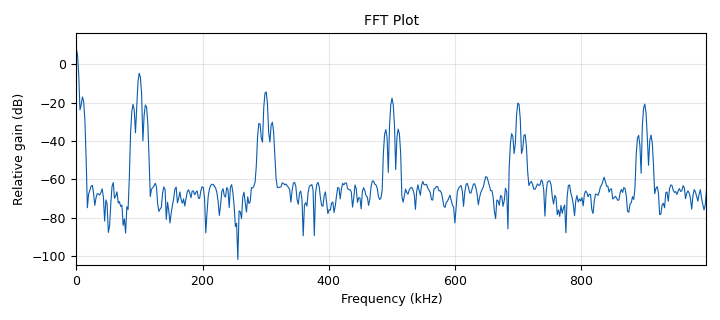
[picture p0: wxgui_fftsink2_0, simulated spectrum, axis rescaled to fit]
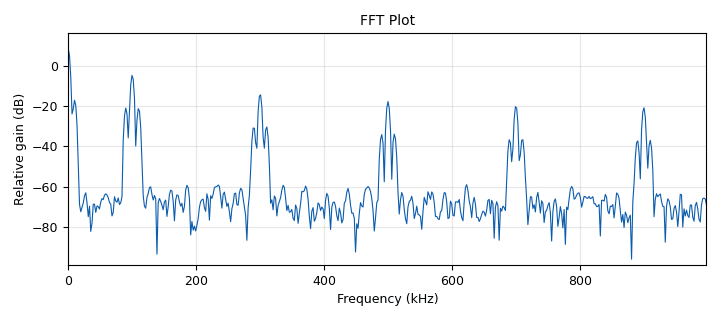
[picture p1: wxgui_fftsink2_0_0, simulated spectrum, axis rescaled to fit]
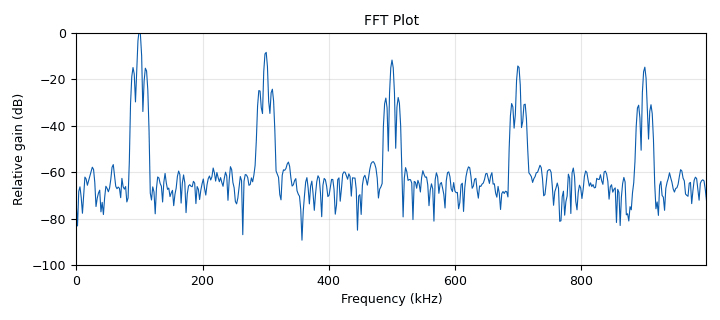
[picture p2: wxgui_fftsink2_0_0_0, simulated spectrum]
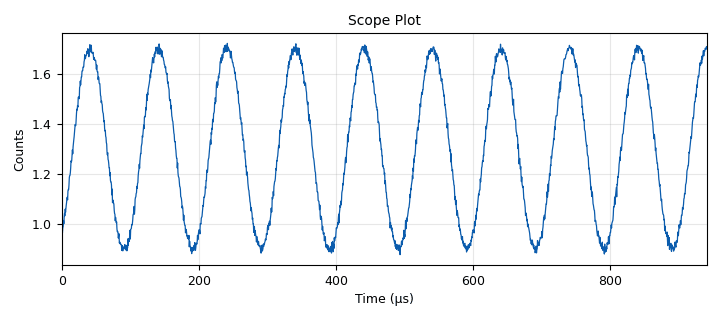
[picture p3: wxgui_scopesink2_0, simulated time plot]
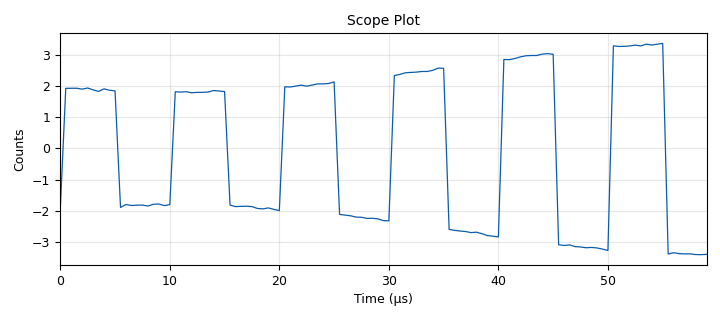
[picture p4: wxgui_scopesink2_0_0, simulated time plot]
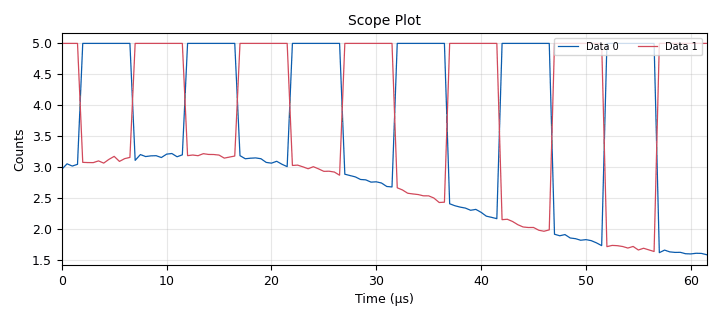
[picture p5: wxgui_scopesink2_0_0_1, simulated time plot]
<?xml version='1.0' encoding='utf-8'?>
<?grc format='1' created='3.7.9'?>
<flow_graph>
<block>
<key>options</key>
<param><key>id</key><value>top_block</value></param>
<param><key>category</key><value>Custom</value></param>
<param><key>generate_options</key><value>wx_gui</value></param>
</block>
<block>
<key>variable</key>
<param><key>id</key><value>carrier_f</value></param>
<param><key>value</key><value>100e3</value></param>
</block>
<block>
<key>variable</key>
<param><key>id</key><value>message_f</value></param>
<param><key>value</key><value>10e3</value></param>
</block>
<block>
<key>variable</key>
<param><key>id</key><value>samp_rate</value></param>
<param><key>value</key><value>2e6</value></param>
</block>
<block>
<key>analog_noise_source_x</key>
<param><key>id</key><value>analog_noise_source_x_0</value></param>
<param><key>amp</key><value>0.01</value></param>
<param><key>noise_type</key><value>analog.GR_GAUSSIAN</value></param>
<param><key>type</key><value>float</value></param>
<param><key>seed</key><value>0</value></param>
</block>
<block>
<key>analog_sig_source_x</key>
<param><key>id</key><value>analog_sig_source_x_0</value></param>
<param><key>amp</key><value>0.4</value></param>
<param><key>freq</key><value>message_f</value></param>
<param><key>offset</key><value>0</value></param>
<param><key>type</key><value>float</value></param>
<param><key>samp_rate</key><value>samp_rate</value></param>
<param><key>waveform</key><value>analog.GR_COS_WAVE</value></param>
</block>
<block>
<key>analog_sig_source_x</key>
<param><key>id</key><value>analog_sig_source_x_1</value></param>
<param><key>amp</key><value>1</value></param>
<param><key>freq</key><value>100000</value></param>
<param><key>offset</key><value>0</value></param>
<param><key>type</key><value>float</value></param>
<param><key>samp_rate</key><value>samp_rate</value></param>
<param><key>waveform</key><value>analog.GR_SQR_WAVE</value></param>
</block>
<block>
<key>blocks_add_const_vxx</key>
<param><key>id</key><value>blocks_add_const_vxx_0</value></param>
<param><key>const</key><value>1.3</value></param>
<param><key>type</key><value>float</value></param>
</block>
<block>
<key>blocks_add_const_vxx</key>
<param><key>id</key><value>blocks_add_const_vxx_1</value></param>
<param><key>const</key><value>5</value></param>
<param><key>type</key><value>float</value></param>
</block>
<block>
<key>blocks_add_const_vxx</key>
<param><key>id</key><value>blocks_add_const_vxx_1_0</value></param>
<param><key>const</key><value>5</value></param>
<param><key>type</key><value>float</value></param>
</block>
<block>
<key>blocks_add_const_vxx</key>
<param><key>id</key><value>blocks_add_const_vxx_2</value></param>
<param><key>const</key><value>1</value></param>
<param><key>type</key><value>float</value></param>
</block>
<block>
<key>blocks_add_xx</key>
<param><key>id</key><value>blocks_add_xx_0</value></param>
<param><key>type</key><value>float</value></param>
</block>
<block>
<key>blocks_multiply_const_vxx</key>
<param><key>id</key><value>blocks_multiply_const_vxx_0</value></param>
<param><key>const</key><value>-2</value></param>
<param><key>type</key><value>float</value></param>
</block>
<block>
<key>blocks_multiply_const_vxx</key>
<param><key>id</key><value>blocks_multiply_const_vxx_1</value></param>
<param><key>const</key><value>-1</value></param>
<param><key>type</key><value>float</value></param>
</block>
<block>
<key>blocks_multiply_xx</key>
<param><key>id</key><value>blocks_multiply_xx_0</value></param>
<param><key>type</key><value>float</value></param>
</block>
<block>
<key>blocks_multiply_xx</key>
<param><key>id</key><value>blocks_multiply_xx_1</value></param>
<param><key>type</key><value>float</value></param>
</block>
<block>
<key>blocks_sub_xx</key>
<param><key>id</key><value>blocks_sub_xx_0</value></param>
<param><key>type</key><value>float</value></param>
</block>
<block>
<key>notebook</key>
<param><key>id</key><value>notebook_0</value></param>
<param><key>labels</key><value>['scope1', 'scope2', 'scope3']</value></param>
<param><key>style</key><value>wx.NB_TOP</value></param>
</block>
<block>
<key>notebook</key>
<param><key>id</key><value>notebook_1</value></param>
<param><key>labels</key><value>['fft1', 'fft2', 'fft3']</value></param>
<param><key>style</key><value>wx.NB_TOP</value></param>
</block>
<block>
<key>wxgui_fftsink2</key>
<param><key>id</key><value>wxgui_fftsink2_0</value></param>
<param><key>avg_alpha</key><value>0</value></param>
<param><key>average</key><value>False</value></param>
<param><key>baseband_freq</key><value>0</value></param>
<param><key>fft_size</key><value>1024</value></param>
<param><key>freqvar</key><value>None</value></param>
<param><key>notebook</key><value>notebook_1,0</value></param>
<param><key>peak_hold</key><value>False</value></param>
<param><key>ref_level</key><value>0</value></param>
<param><key>ref_scale</key><value>2.0</value></param>
<param><key>fft_rate</key><value>15</value></param>
<param><key>samp_rate</key><value>samp_rate</value></param>
<param><key>title</key><value>FFT Plot</value></param>
<param><key>type</key><value>float</value></param>
<param><key>win</key><value>None</value></param>
<param><key>y_divs</key><value>10</value></param>
<param><key>y_per_div</key><value>10</value></param>
</block>
<block>
<key>wxgui_fftsink2</key>
<param><key>id</key><value>wxgui_fftsink2_0_0</value></param>
<param><key>avg_alpha</key><value>0</value></param>
<param><key>average</key><value>False</value></param>
<param><key>baseband_freq</key><value>0</value></param>
<param><key>fft_size</key><value>1024</value></param>
<param><key>freqvar</key><value>None</value></param>
<param><key>notebook</key><value>notebook_1,1</value></param>
<param><key>peak_hold</key><value>False</value></param>
<param><key>ref_level</key><value>0</value></param>
<param><key>ref_scale</key><value>2.0</value></param>
<param><key>fft_rate</key><value>15</value></param>
<param><key>samp_rate</key><value>samp_rate</value></param>
<param><key>title</key><value>FFT Plot</value></param>
<param><key>type</key><value>float</value></param>
<param><key>win</key><value>None</value></param>
<param><key>y_divs</key><value>10</value></param>
<param><key>y_per_div</key><value>10</value></param>
</block>
<block>
<key>wxgui_fftsink2</key>
<param><key>id</key><value>wxgui_fftsink2_0_0_0</value></param>
<param><key>avg_alpha</key><value>0</value></param>
<param><key>average</key><value>False</value></param>
<param><key>baseband_freq</key><value>0</value></param>
<param><key>fft_size</key><value>1024</value></param>
<param><key>freqvar</key><value>None</value></param>
<param><key>notebook</key><value>notebook_1,2</value></param>
<param><key>peak_hold</key><value>False</value></param>
<param><key>ref_level</key><value>0</value></param>
<param><key>ref_scale</key><value>2.0</value></param>
<param><key>fft_rate</key><value>15</value></param>
<param><key>samp_rate</key><value>samp_rate</value></param>
<param><key>title</key><value>FFT Plot</value></param>
<param><key>type</key><value>float</value></param>
<param><key>win</key><value>None</value></param>
<param><key>y_divs</key><value>10</value></param>
<param><key>y_per_div</key><value>10</value></param>
</block>
<block>
<key>wxgui_scopesink2</key>
<param><key>id</key><value>wxgui_scopesink2_0</value></param>
<param><key>ac_couple</key><value>False</value></param>
<param><key>notebook</key><value>notebook_0,0</value></param>
<param><key>num_inputs</key><value>1</value></param>
<param><key>samp_rate</key><value>samp_rate</value></param>
<param><key>t_scale</key><value>0</value></param>
<param><key>title</key><value>Scope Plot</value></param>
<param><key>trig_mode</key><value>wxgui.TRIG_MODE_AUTO</value></param>
<param><key>type</key><value>float</value></param>
<param><key>v_offset</key><value>0</value></param>
<param><key>v_scale</key><value>0</value></param>
<param><key>xy_mode</key><value>False</value></param>
<param><key>y_axis_label</key><value>Counts</value></param>
</block>
<block>
<key>wxgui_scopesink2</key>
<param><key>id</key><value>wxgui_scopesink2_0_0</value></param>
<param><key>ac_couple</key><value>False</value></param>
<param><key>notebook</key><value>notebook_0,2</value></param>
<param><key>num_inputs</key><value>1</value></param>
<param><key>samp_rate</key><value>samp_rate</value></param>
<param><key>t_scale</key><value>0</value></param>
<param><key>title</key><value>Scope Plot</value></param>
<param><key>trig_mode</key><value>wxgui.TRIG_MODE_AUTO</value></param>
<param><key>type</key><value>float</value></param>
<param><key>v_offset</key><value>0</value></param>
<param><key>v_scale</key><value>0</value></param>
<param><key>xy_mode</key><value>False</value></param>
<param><key>y_axis_label</key><value>Counts</value></param>
</block>
<block>
<key>wxgui_scopesink2</key>
<param><key>id</key><value>wxgui_scopesink2_0_0_1</value></param>
<param><key>ac_couple</key><value>True</value></param>
<param><key>notebook</key><value>notebook_0,1</value></param>
<param><key>num_inputs</key><value>2</value></param>
<param><key>samp_rate</key><value>samp_rate</value></param>
<param><key>t_scale</key><value>0</value></param>
<param><key>title</key><value>Scope Plot</value></param>
<param><key>trig_mode</key><value>wxgui.TRIG_MODE_AUTO</value></param>
<param><key>type</key><value>float</value></param>
<param><key>v_offset</key><value>0</value></param>
<param><key>v_scale</key><value>0</value></param>
<param><key>xy_mode</key><value>False</value></param>
<param><key>y_axis_label</key><value>Counts</value></param>
</block>
<connection><source_block_id>analog_noise_source_x_0</source_block_id><sink_block_id>blocks_add_xx_0</sink_block_id><source_key>0</source_key><sink_key>1</sink_key></connection>
<connection><source_block_id>analog_sig_source_x_0</source_block_id><sink_block_id>blocks_add_xx_0</sink_block_id><source_key>0</source_key><sink_key>0</sink_key></connection>
<connection><source_block_id>analog_sig_source_x_1</source_block_id><sink_block_id>blocks_multiply_const_vxx_1</sink_block_id><source_key>0</source_key><sink_key>0</sink_key></connection>
<connection><source_block_id>analog_sig_source_x_1</source_block_id><sink_block_id>blocks_multiply_xx_0</sink_block_id><source_key>0</source_key><sink_key>1</sink_key></connection>
<connection><source_block_id>blocks_add_const_vxx_0</source_block_id><sink_block_id>blocks_multiply_const_vxx_0</sink_block_id><source_key>0</source_key><sink_key>0</sink_key></connection>
<connection><source_block_id>blocks_add_const_vxx_0</source_block_id><sink_block_id>wxgui_scopesink2_0</sink_block_id><source_key>0</source_key><sink_key>0</sink_key></connection>
<connection><source_block_id>blocks_add_const_vxx_1</source_block_id><sink_block_id>blocks_sub_xx_0</sink_block_id><source_key>0</source_key><sink_key>0</sink_key></connection>
<connection><source_block_id>blocks_add_const_vxx_1</source_block_id><sink_block_id>wxgui_fftsink2_0</sink_block_id><source_key>0</source_key><sink_key>0</sink_key></connection>
<connection><source_block_id>blocks_add_const_vxx_1</source_block_id><sink_block_id>wxgui_scopesink2_0_0_1</sink_block_id><source_key>0</source_key><sink_key>0</sink_key></connection>
<connection><source_block_id>blocks_add_const_vxx_1_0</source_block_id><sink_block_id>blocks_sub_xx_0</sink_block_id><source_key>0</source_key><sink_key>1</sink_key></connection>
<connection><source_block_id>blocks_add_const_vxx_1_0</source_block_id><sink_block_id>wxgui_fftsink2_0_0</sink_block_id><source_key>0</source_key><sink_key>0</sink_key></connection>
<connection><source_block_id>blocks_add_const_vxx_1_0</source_block_id><sink_block_id>wxgui_scopesink2_0_0_1</sink_block_id><source_key>0</source_key><sink_key>1</sink_key></connection>
<connection><source_block_id>blocks_add_const_vxx_2</source_block_id><sink_block_id>blocks_multiply_xx_1</sink_block_id><source_key>0</source_key><sink_key>1</sink_key></connection>
<connection><source_block_id>blocks_add_xx_0</source_block_id><sink_block_id>blocks_add_const_vxx_0</sink_block_id><source_key>0</source_key><sink_key>0</sink_key></connection>
<connection><source_block_id>blocks_multiply_const_vxx_0</source_block_id><sink_block_id>blocks_multiply_xx_0</sink_block_id><source_key>0</source_key><sink_key>0</sink_key></connection>
<connection><source_block_id>blocks_multiply_const_vxx_0</source_block_id><sink_block_id>blocks_multiply_xx_1</sink_block_id><source_key>0</source_key><sink_key>0</sink_key></connection>
<connection><source_block_id>blocks_multiply_const_vxx_1</source_block_id><sink_block_id>blocks_add_const_vxx_2</sink_block_id><source_key>0</source_key><sink_key>0</sink_key></connection>
<connection><source_block_id>blocks_multiply_xx_0</source_block_id><sink_block_id>blocks_add_const_vxx_1</sink_block_id><source_key>0</source_key><sink_key>0</sink_key></connection>
<connection><source_block_id>blocks_multiply_xx_1</source_block_id><sink_block_id>blocks_add_const_vxx_1_0</sink_block_id><source_key>0</source_key><sink_key>0</sink_key></connection>
<connection><source_block_id>blocks_sub_xx_0</source_block_id><sink_block_id>wxgui_fftsink2_0_0_0</sink_block_id><source_key>0</source_key><sink_key>0</sink_key></connection>
<connection><source_block_id>blocks_sub_xx_0</source_block_id><sink_block_id>wxgui_scopesink2_0_0</sink_block_id><source_key>0</source_key><sink_key>0</sink_key></connection>
</flow_graph>
